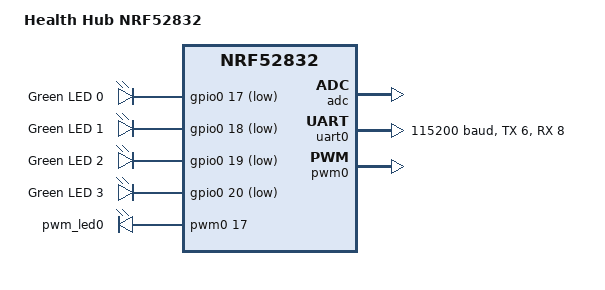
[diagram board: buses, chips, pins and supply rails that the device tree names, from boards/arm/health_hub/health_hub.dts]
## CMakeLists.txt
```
# SPDX-License-Identifier: Apache-2.0

cmake_minimum_required(VERSION 3.13.1)

# Re-direct the directory where the 'boards' directory is found from
# $ZEPHYR_BASE to this directory.
set(BOARD_ROOT ${CMAKE_CURRENT_LIST_DIR})

# Only compatible with health_hub because it has
# re-directed the 'boards' directory to a directory that only contains
# this board.
set(BOARD health_hub)

find_package(Zephyr REQUIRED HINTS $ENV{ZEPHYR_BASE})
project(HealthHub)

target_sources(app PRIVATE
  src/main.c
)
```

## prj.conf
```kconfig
# Increased stack due to settings API usage
CONFIG_SYSTEM_WORKQUEUE_STACK_SIZE=2048

CONFIG_BT=y
CONFIG_BT_DEBUG_LOG=y
CONFIG_BT_SMP=y
CONFIG_BT_SIGNING=y
CONFIG_BT_PERIPHERAL=y
CONFIG_BT_DIS=y
CONFIG_BT_ATT_PREPARE_COUNT=5
CONFIG_BT_PRIVACY=y
CONFIG_BT_DEVICE_NAME="Health Hub"
CONFIG_BT_DEVICE_APPEARANCE=833
CONFIG_BT_DEVICE_NAME_DYNAMIC=y
CONFIG_BT_DEVICE_NAME_MAX=65

CONFIG_BT_KEYS_OVERWRITE_OLDEST=y
CONFIG_BT_SETTINGS=y
CONFIG_FLASH=y
CONFIG_FLASH_PAGE_LAYOUT=y
CONFIG_FLASH_MAP=y
CONFIG_NVS=y
CONFIG_SETTINGS=y

# BT Services
CONFIG_BT_BAS=y


## Debug Config ##
CONFIG_ASSERT=y

CONFIG_HW_STACK_PROTECTION=y

# Logging
CONFIG_BT_DEBUG_LOG=y
CONFIG_LOG_BUFFER_SIZE=4096
CONFIG_LOG_BACKEND_RTT=y
CONFIG_LOG_BACKEND_RTT_MODE_DROP=n
CONFIG_USE_SEGGER_RTT=y
CONFIG_RTT_CONSOLE=y
CONFIG_SEGGER_RTT_BUFFER_SIZE_UP=4096
CONFIG_LOG_PROCESS_THREAD_STACK_SIZE=1024
CONFIG_LOG_STRDUP_BUF_COUNT=20
# 0 - 0ff, 1 - error, 2 - warning, 3 - info, 4 - debug
CONFIG_LOG_DEFAULT_LEVEL=3 
```

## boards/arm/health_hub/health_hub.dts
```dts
/*
 * Copyright (c) 2017 Shawn Nock <shawn@monadnock.ca>
 * Copyright (c) 2017 Linaro Limited
 *
 * SPDX-License-Identifier: Apache-2.0
 */

/dts-v1/;
#include <nordic/nrf52832_qfaa.dtsi>

/ {
	model = "Health Hub NRF52832";
	compatible = "nordic";

	chosen {
		zephyr,console = &uart0;
		zephyr,shell-uart = &uart0;
		zephyr,uart-mcumgr = &uart0;
		zephyr,bt-mon-uart = &uart0;
		zephyr,bt-c2h-uart = &uart0;
		zephyr,sram = &sram0;
		zephyr,flash = &flash0;
		zephyr,code-partition = &slot0_partition;
	};

	leds {
		compatible = "gpio-leds";
		led0: led_0 {
			gpios = <&gpio0 17 GPIO_ACTIVE_LOW>;
			label = "Green LED 0";
		};
		led1: led_1 {
			gpios = <&gpio0 18 GPIO_ACTIVE_LOW>;
			label = "Green LED 1";
		};
		led2: led_2 {
			gpios = <&gpio0 19 GPIO_ACTIVE_LOW>;
			label = "Green LED 2";
		};
		led3: led_3 {
			gpios = <&gpio0 20 GPIO_ACTIVE_LOW>;
			label = "Green LED 3";
		};
	};

	pwmleds {
		compatible = "pwm-leds";
		pwm_led0: pwm_led_0 {
			pwms = <&pwm0 17>;
		};
	};

	/* These aliases are provided for compatibility with samples */
	aliases {
		led0 = &led0;
		led1 = &led1;
		led2 = &led2;
		led3 = &led3;
		pwm-led0 = &pwm_led0;
	};
};

&adc {
	status = "okay";
};

&gpiote {
	status = "okay";
};

&gpio0 {
	status = "okay";
};

arduino_serial: &uart0 {
	status = "okay";
	compatible = "nordic,nrf-uart";
	current-speed = <115200>;
	tx-pin = <6>;
	rx-pin = <8>;
	rts-pin = <5>;
	cts-pin = <7>;
};

&pwm0 {
	status = "okay";
	ch0-pin = <17>;
	ch0-inverted;
};

&flash0 {
	/*
	 * For more information, see:
	 * https://docs.zephyrproject.org/latest/guides/dts/legacy-macros.html#legacy-flash-partitions
	 */
	partitions {
		compatible = "fixed-partitions";
		#address-cells = <1>;
		#size-cells = <1>;

		boot_partition: partition@0 {
			label = "mcuboot";
			reg = <0x00000000 0xc000>;
		};
		slot0_partition: partition@c000 {
			label = "image-0";
			reg = <0x0000C000 0x32000>;
		};
		slot1_partition: partition@3e000 {
			label = "image-1";
			reg = <0x0003E000 0x32000>;
		};
		scratch_partition: partition@70000 {
			label = "image-scratch";
			reg = <0x00070000 0xa000>;
		};
		storage_partition: partition@7a000 {
			label = "storage";
			reg = <0x0007a000 0x00006000>;
		};
	};
};
```

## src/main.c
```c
/* main.c - Application main entry point */

/*
 * Copyright (c) 2015-2016 Intel Corporation
 *
 * SPDX-License-Identifier: Apache-2.0
 */

#include <zephyr/types.h>
#include <stddef.h>
#include <string.h>
#include <errno.h>
#include <sys/printk.h>
#include <sys/byteorder.h>
#include <zephyr.h>

#include <settings/settings.h>

#include <bluetooth/bluetooth.h>
#include <bluetooth/hci.h>
#include <bluetooth/conn.h>
#include <bluetooth/uuid.h>
#include <bluetooth/gatt.h>
#include <bluetooth/services/bas.h>

#include <logging/log.h>

/* Initialize the RTT logging. */
#define LOG_MODULE_NAME health_hub
LOG_MODULE_REGISTER(LOG_MODULE_NAME);

/* Set when the CCC Cfg changes. True when notifications are enabled, false otherwise. */
volatile bool Notify_Enabled;

/* Custom Service Variables */
static struct bt_uuid_128 vnd_uuid = BT_UUID_INIT_128(
    0xf0, 0xde, 0xbc, 0x9a, 0x78, 0x56, 0x34, 0x12,
    0x78, 0x56, 0x34, 0x12, 0x78, 0x56, 0x34, 0x12);

static struct bt_uuid_128 vnd_enc_uuid = BT_UUID_INIT_128(
    0xf1, 0xde, 0xbc, 0x9a, 0x78, 0x56, 0x34, 0x12,
    0x78, 0x56, 0x34, 0x12, 0x78, 0x56, 0x34, 0x12);

static struct bt_uuid_128 vnd_auth_uuid = BT_UUID_INIT_128(
    0xf2, 0xde, 0xbc, 0x9a, 0x78, 0x56, 0x34, 0x12,
    0x78, 0x56, 0x34, 0x12, 0x78, 0x56, 0x34, 0x12);

static uint8_t vnd_value[] = { 'V', 'e', 'n', 'd', 'o', 'r' };

static ssize_t read_vnd(struct bt_conn *conn, const struct bt_gatt_attr *attr,
            void *buf, uint16_t len, uint16_t offset)
{
    const char *value = attr->user_data;

    return bt_gatt_attr_read(conn, attr, buf, len, offset, value,
                 strlen(value));
}

static ssize_t write_vnd(struct bt_conn *conn, const struct bt_gatt_attr *attr,
             const void *buf, uint16_t len, uint16_t offset,
             uint8_t flags)
{
    uint8_t *value = attr->user_data;

    if (offset + len > sizeof(vnd_value)) {
        return BT_GATT_ERR(BT_ATT_ERR_INVALID_OFFSET);
    }

    memcpy(value + offset, buf, len);

    return len;
}

/**
    Called when the configuration changes.
*/
static void vnd_ccc_cfg_changed(const struct bt_gatt_attr *attr, uint16_t value)
{
    Notify_Enabled = (value == BT_GATT_CCC_NOTIFY);
    LOG_INF("Notification %s", Notify_Enabled ? "enabled" : "disabled");
}

#define MAX_DATA 74
static uint8_t vnd_long_value[] = {
          'V', 'e', 'n', 'd', 'o', 'r', ' ', 'd', 'a', 't', 'a', '1',
          'V', 'e', 'n', 'd', 'o', 'r', ' ', 'd', 'a', 't', 'a', '2',
          'V', 'e', 'n', 'd', 'o', 'r', ' ', 'd', 'a', 't', 'a', '3',
          'V', 'e', 'n', 'd', 'o', 'r', ' ', 'd', 'a', 't', 'a', '4',
          'V', 'e', 'n', 'd', 'o', 'r', ' ', 'd', 'a', 't', 'a', '5',
          'V', 'e', 'n', 'd', 'o', 'r', ' ', 'd', 'a', 't', 'a', '6',
          '.', ' ' };

static ssize_t read_long_vnd(struct bt_conn *conn,
                 const struct bt_gatt_attr *attr, void *buf,
                 uint16_t len, uint16_t offset)
{
    const char *value = attr->user_data;

    return bt_gatt_attr_read(conn, attr, buf, len, offset, value,
                 sizeof(vnd_long_value));
}

static ssize_t write_long_vnd(struct bt_conn *conn,
                  const struct bt_gatt_attr *attr, const void *buf,
                  uint16_t len, uint16_t offset, uint8_t flags)
{
    uint8_t *value = attr->user_data;

    if (flags & BT_GATT_WRITE_FLAG_PREPARE) {
        return 0;
    }

    if (offset + len > sizeof(vnd_long_value)) {
        return BT_GATT_ERR(BT_ATT_ERR_INVALID_OFFSET);
    }

    memcpy(value + offset, buf, len);

    return len;
}

static const struct bt_uuid_128 vnd_long_uuid = BT_UUID_INIT_128(
    0xf3, 0xde, 0xbc, 0x9a, 0x78, 0x56, 0x34, 0x12,
    0x78, 0x56, 0x34, 0x12, 0x78, 0x56, 0x34, 0x12);

static struct bt_gatt_cep vnd_long_cep = {
    .properties = BT_GATT_CEP_RELIABLE_WRITE,
};

static int signed_value;

static ssize_t read_signed(struct bt_conn *conn, const struct bt_gatt_attr *attr,
               void *buf, uint16_t len, uint16_t offset)
{
    const char *value = attr->user_data;

    return bt_gatt_attr_read(conn, attr, buf, len, offset, value,
                 sizeof(signed_value));
}

static ssize_t write_signed(struct bt_conn *conn, const struct bt_gatt_attr *attr,
                const void *buf, uint16_t len, uint16_t offset,
                uint8_t flags)
{
    uint8_t *value = attr->user_data;

    if (offset + len > sizeof(signed_value)) {
        return BT_GATT_ERR(BT_ATT_ERR_INVALID_OFFSET);
    }

    memcpy(value + offset, buf, len);

    return len;
}

static const struct bt_uuid_128 vnd_signed_uuid = BT_UUID_INIT_128(
    0xf3, 0xde, 0xbc, 0x9a, 0x78, 0x56, 0x34, 0x13,
    0x78, 0x56, 0x34, 0x12, 0x78, 0x56, 0x34, 0x13);

static const struct bt_uuid_128 vnd_write_cmd_uuid = BT_UUID_INIT_128(
    0xf4, 0xde, 0xbc, 0x9a, 0x78, 0x56, 0x34, 0x12,
    0x78, 0x56, 0x34, 0x12, 0x78, 0x56, 0x34, 0x12);

static ssize_t write_without_rsp_vnd(struct bt_conn *conn,
                     const struct bt_gatt_attr *attr,
                     const void *buf, uint16_t len, uint16_t offset,
                     uint8_t flags)
{
    uint8_t *value = attr->user_data;

    /* Write request received. Reject it since this char only accepts
     * Write Commands.
     */
    if (!(flags & BT_GATT_WRITE_FLAG_CMD)) {
        return BT_GATT_ERR(BT_ATT_ERR_WRITE_REQ_REJECTED);
    }

    if (offset + len > sizeof(vnd_value)) {
        return BT_GATT_ERR(BT_ATT_ERR_INVALID_OFFSET);
    }

    memcpy(value + offset, buf, len);

    return len;
}

/* Vendor Primary Service Declaration */
BT_GATT_SERVICE_DEFINE(vnd_svc,
    BT_GATT_PRIMARY_SERVICE(&vnd_uuid),
    BT_GATT_CHARACTERISTIC(&vnd_enc_uuid.uuid,
                   BT_GATT_CHRC_NOTIFY,
                   BT_GATT_PERM_READ_ENCRYPT,
                   read_vnd, write_vnd, vnd_value),
    BT_GATT_CCC(vnd_ccc_cfg_changed,
            BT_GATT_PERM_READ | BT_GATT_PERM_WRITE_ENCRYPT),
    BT_GATT_CHARACTERISTIC(&vnd_auth_uuid.uuid,
                   BT_GATT_CHRC_READ | BT_GATT_CHRC_WRITE,
                   BT_GATT_PERM_READ_AUTHEN |
                   BT_GATT_PERM_WRITE_AUTHEN,
                   read_vnd, write_vnd, vnd_value),
    BT_GATT_CHARACTERISTIC(&vnd_long_uuid.uuid, BT_GATT_CHRC_READ |
                   BT_GATT_CHRC_WRITE | BT_GATT_CHRC_EXT_PROP,
                   BT_GATT_PERM_READ | BT_GATT_PERM_WRITE |
                   BT_GATT_PERM_PREPARE_WRITE,
                   read_long_vnd, write_long_vnd, &vnd_long_value),
    BT_GATT_CEP(&vnd_long_cep),
    BT_GATT_CHARACTERISTIC(&vnd_signed_uuid.uuid, BT_GATT_CHRC_READ |
                   BT_GATT_CHRC_WRITE | BT_GATT_CHRC_AUTH,
                   BT_GATT_PERM_READ | BT_GATT_PERM_WRITE,
                   read_signed, write_signed, &signed_value),
    BT_GATT_CHARACTERISTIC(&vnd_write_cmd_uuid.uuid,
                   BT_GATT_CHRC_WRITE_WITHOUT_RESP,
                   BT_GATT_PERM_WRITE, NULL,
                   write_without_rsp_vnd, &vnd_value),
);

static const struct bt_data ad[] = {
    BT_DATA_BYTES(BT_DATA_FLAGS, (BT_LE_AD_GENERAL | BT_LE_AD_NO_BREDR)),
    BT_DATA_BYTES(BT_DATA_UUID16_ALL,
            BT_UUID_16_ENCODE(BT_UUID_BAS_VAL)),
    BT_DATA_BYTES(BT_DATA_UUID128_ALL,
              0xf0, 0xde, 0xbc, 0x9a, 0x78, 0x56, 0x34, 0x12,
              0x78, 0x56, 0x34, 0x12, 0x78, 0x56, 0x34, 0x12),
};

static void connected(struct bt_conn *conn, uint8_t err)
{
    if (err) {
        printk("Connection failed (err 0x%02x)\n", err);
    } else {
        printk("Connected\n");
    }
}

static void disconnected(struct bt_conn *conn, uint8_t reason)
{
    printk("Disconnected (reason 0x%02x)\n", reason);
}

static struct bt_conn_cb conn_callbacks = {
    .connected = connected,
    .disconnected = disconnected,
};

static void bt_ready(void)
{
    int err;

    printk("Bluetooth initialized\n");

    if (IS_ENABLED(CONFIG_SETTINGS)) {
        settings_load();
    }

    err = bt_le_adv_start(BT_LE_ADV_CONN_NAME, ad, ARRAY_SIZE(ad), NULL, 0);
    if (err) {
        printk("Advertising failed to start (err %d)\n", err);
        return;
    }

    printk("Advertising successfully started\n");
}

static void auth_passkey_display(struct bt_conn *conn, unsigned int passkey)
{
    char addr[BT_ADDR_LE_STR_LEN];

    bt_addr_le_to_str(bt_conn_get_dst(conn), addr, sizeof(addr));

    printk("Passkey for %s: %06u\n", addr, passkey);
}

static void auth_cancel(struct bt_conn *conn)
{
    char addr[BT_ADDR_LE_STR_LEN];

    bt_addr_le_to_str(bt_conn_get_dst(conn), addr, sizeof(addr));

    printk("Pairing cancelled: %s\n", addr);
}

static struct bt_conn_auth_cb auth_cb_display = {
    .passkey_display = auth_passkey_display,
    .passkey_entry = NULL,
    .cancel = auth_cancel,
};

static void bas_notify(void)
{
    uint8_t battery_level = bt_bas_get_battery_level();

    battery_level--;

    if (battery_level == 0u) {
        battery_level = 100U;
    }

    bt_bas_set_battery_level(battery_level);
}

/**
    Notifies the central device with updated data.
    The data is fake for now.
*/
static void ecg_notify(void)
{
    static uint8_t ecg_val = 0u;
    ecg_val++;

    if(ecg_val == 255u)
    {
        ecg_val = 0u;
    }
    LOG_INF("ECG Val: %d\n", ecg_val);

    int err = bt_gatt_notify(NULL, &vnd_svc.attrs[2], &ecg_val, sizeof(ecg_val));
    if(err)
    {
        LOG_ERR("Error occurred: %d\n", err);
    }
}

void main(void)
{
    int err;
    LOG_INF("Start");

    err = bt_enable(NULL);
    if(err) {
        printk("Bluetooth init failed (err %d)\n", err);
        return;
    }

    bt_ready();

    bt_conn_cb_register(&conn_callbacks);
    bt_conn_auth_cb_register(&auth_cb_display);

    /* Implement notification. At the moment there is no suitable way
     * of starting delayed work so we do it here
     */
    while(1) {
        k_sleep(K_SECONDS(1));

        /* Battery level simulation */
        bas_notify();

        if(Notify_Enabled)
        {
            /* Vendor indication simulation */
            ecg_notify();
        }
        else
        {
            LOG_INF("Attempted to notify but not enabled");
        }
    }
}
```
